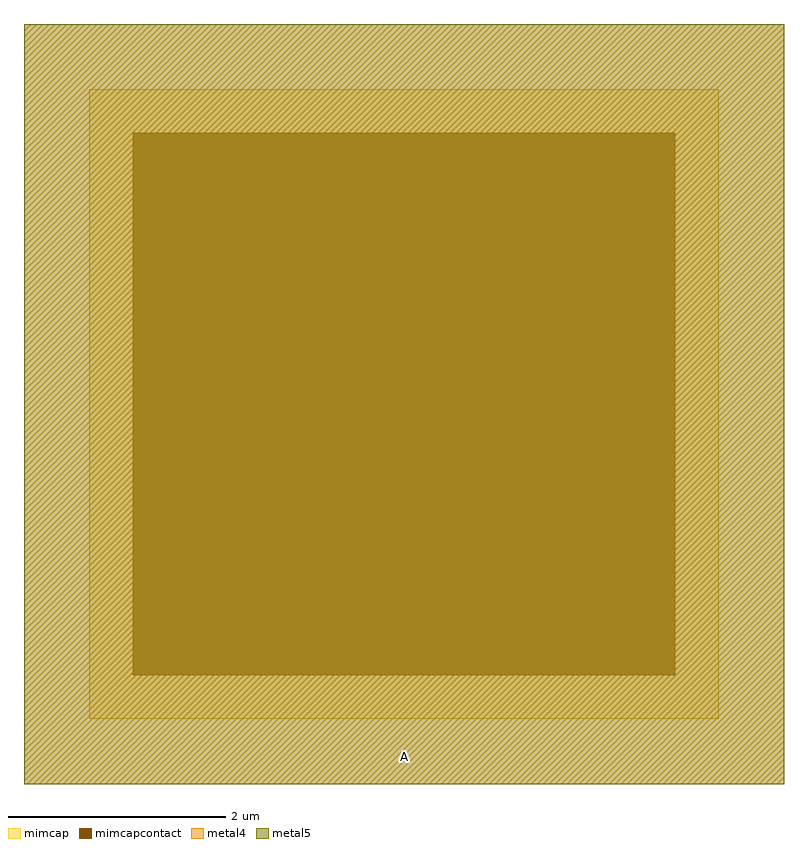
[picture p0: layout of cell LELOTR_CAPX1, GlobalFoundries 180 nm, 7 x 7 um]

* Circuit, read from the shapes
.subckt LELOTR_CAPX1 B A
XC1 A B cap_mim_2f0fF c_width=5.8u c_length=5.8u
.ends

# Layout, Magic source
magic
tech gf180mcuD
magscale 1 10
<< metal5 >>
rect 0 0 1400 100
rect 0 0 1400 100
rect 0 0 1400 1400
<< metal4 >>
rect 0 0 1400 100
rect 0 0 1400 100
rect 0 0 1400 1400
<< mimcap >>
rect 120 120 1280 1280
<< mimcapcontact >>
rect 200 200 1200 1200
<< labels >>
flabel metal5 s 0 0 1400 100 0 FreeSans 400 0 0 0 A
port 2 nsew signal bidirectional
flabel metal4 s 0 0 1400 100 0 FreeSans 400 0 0 0 B
port 1 nsew signal bidirectional
<< properties >>
string FIXED_BBOX 0 0 1400 1400
<< end >>
